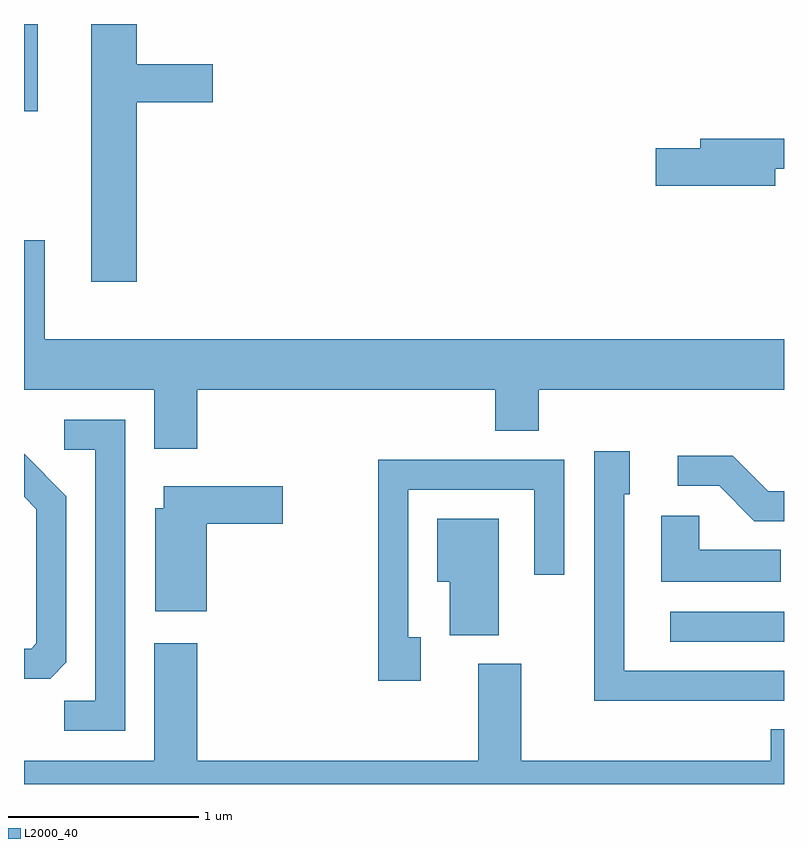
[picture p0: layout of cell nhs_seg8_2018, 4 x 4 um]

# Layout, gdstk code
import gdstk
lib = gdstk.Library(unit=1e-6, precision=1e-09)
def R(c, l, rs):  # rectangles x0, y0, x1, y1
    for r in rs: c.add(gdstk.rectangle(r[:2], r[2:], *l))
def P(c, l, *ps):  # polygons
    for p in ps: c.add(gdstk.Polygon(p, *l))
L2000_40 = (2000, 40)

nhs_seg8_2018 = lib.new_cell('nhs_seg8_2018')
R(nhs_seg8_2018, L2000_40, [(249.013,1835.091,249.611,1835.249), (245.611,1837.883,245.684,1838.342)])
P(nhs_seg8_2018, L2000_40, [(246.204,1837.931),(246.604,1837.931),(246.604,1838.129),(246.204,1838.129),(246.204,1838.342),(245.966,1838.342),(245.966,1836.986),(246.204,1836.986)],
  [(249.564,1837.581),(249.611,1837.581),(249.611,1837.739),(249.171,1837.739),(249.171,1837.689),(248.936,1837.689),(248.936,1837.491),(249.564,1837.491)],
  [(246.524,1836.416),(248.091,1836.416),(248.091,1836.201),(248.319,1836.201),(248.319,1836.416),(249.611,1836.416),(249.611,1836.684),(245.719,1836.684),(245.719,1837.204),(245.611,1837.204),(245.611,1836.416),(246.296,1836.416),(246.296,1836.106),(246.524,1836.106)],
  [(246.144,1836.259),(245.823,1836.259),(245.823,1836.101),(245.986,1836.101),(245.986,1834.779),(245.823,1834.779),(245.823,1834.621),(246.144,1834.621)],
  [(249.611,1834.939),(248.769,1834.939),(248.769,1835.866),(248.799,1835.866),(248.799,1836.094),(248.611,1836.094),(248.611,1834.781),(249.611,1834.781)],
  [(245.834,1834.982),(245.834,1835.857),(245.611,1836.08),(245.611,1835.854),(245.676,1835.789),(245.676,1835.082),(245.649,1835.054),(245.611,1835.054),(245.611,1834.896),(245.749,1834.896)],
  [(249.611,1835.884),(249.527,1835.884),(249.342,1836.069),(249.053,1836.069),(249.053,1835.911),(249.269,1835.911),(249.454,1835.726),(249.611,1835.726)],
  [(247.699,1835.114),(247.634,1835.114),(247.634,1835.891),(248.296,1835.891),(248.296,1835.443),(248.454,1835.443),(248.454,1836.049),(247.476,1836.049),(247.476,1834.886),(247.699,1834.886)],
  [(246.574,1835.711),(246.974,1835.711),(246.974,1835.909),(246.346,1835.909),(246.346,1835.794),(246.301,1835.794),(246.301,1835.251),(246.574,1835.251)],
  [(249.593,1835.574),(249.164,1835.574),(249.164,1835.754),(248.966,1835.754),(248.966,1835.406),(249.593,1835.406)],
  [(248.109,1835.739),(247.786,1835.739),(247.786,1835.406),(247.851,1835.406),(247.851,1835.126),(248.109,1835.126)],
  [(249.611,1834.629),(249.541,1834.629),(249.541,1834.464),(248.229,1834.464),(248.229,1834.974),(248.001,1834.974),(248.001,1834.464),(246.524,1834.464),(246.524,1835.084),(246.296,1835.084),(246.296,1834.464),(245.611,1834.464),(245.611,1834.342),(249.611,1834.342)])

lib.write_gds('nhs_seg8_2018.gds')
